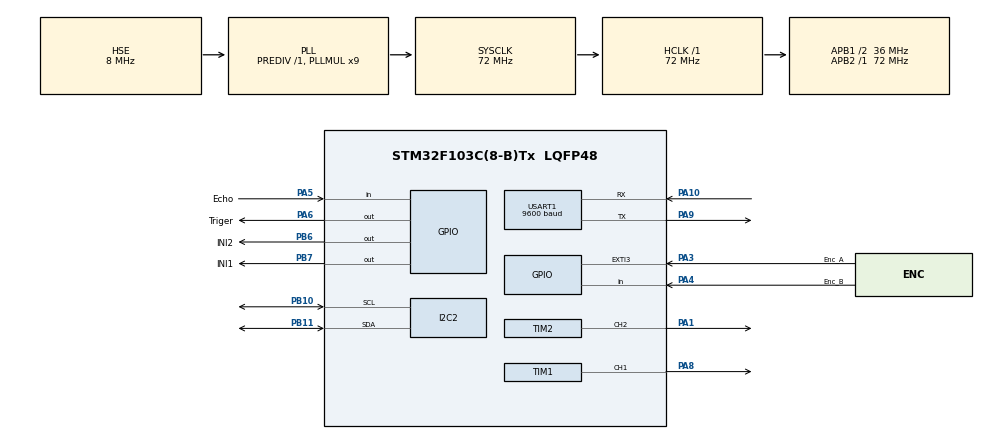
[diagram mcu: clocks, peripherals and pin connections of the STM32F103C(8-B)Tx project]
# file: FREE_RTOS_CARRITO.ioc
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FREERTOS.Tasks01=UART_Task,2,128,StartUartTask,Default,NULL,Dynamic,NULL,NULL;Servo_Task,0,128,StartServoTask,Default,NULL,Dynamic,NULL,NULL;Motor_Task,0,128,StartMotorTask,Default,NULL,Dynamic,NULL,NULL;Ultrasonic_Task,-3,64,StartUltrasonicoTask,Default,NULL,Dynamic,NULL,NULL;Encoder_Task,-2,256,StartEncoderTask,Default,NULL,Dynamic,NULL,NULL;MPU_Task,2,256,StartMPU9250Task,Default,NULL,Dynamic,NULL,NULL;Bluetooth_Task,0,256,StartBluetoothTask,Default,NULL,Dynamic,NULL,NULL
FREERTOS.configMINIMAL_STACK_SIZE=64
FREERTOS.configTOTAL_HEAP_SIZE=10000
Mcu.Family=STM32F1
Mcu.Name=STM32F103C(8-B)Tx
Mcu.Package=LQFP48
NVIC.EXTI3_IRQn=true\:5\:0\:false\:false\:true\:true\:true\:true
NVIC.PriorityGroup=NVIC_PRIORITYGROUP_4
NVIC.USART1_IRQn=true\:5\:0\:false\:false\:true\:true\:true\:true
PA1.Signal=S_TIM2_CH2
PA10.Mode=Asynchronous
PA10.Signal=USART1_RX
PA13.Mode=Serial_Wire
PA13.Signal=SYS_JTMS-SWDIO
PA14.Mode=Serial_Wire
PA14.Signal=SYS_JTCK-SWCLK
PA3.GPIO_Label=Enc_A
PA3.GPIO_PuPd=GPIO_PULLUP
PA3.Signal=GPXTI3
PA4.GPIO_Label=Enc_B
PA4.GPIO_PuPd=GPIO_PULLUP
PA4.Signal=GPIO_Input
PA5.GPIO_Label=Echo
PA5.Signal=GPIO_Input
PA6.GPIO_Label=Triger
PA6.Signal=GPIO_Output
PA8.Signal=S_TIM1_CH1
PA9.Mode=Asynchronous
PA9.Signal=USART1_TX
PB10.Mode=I2C
PB10.Signal=I2C2_SCL
PB11.Mode=I2C
PB11.Signal=I2C2_SDA
PB6.GPIO_Label=INI2
PB6.GPIO_PuPd=GPIO_PULLUP
PB6.Signal=GPIO_Output
PB7.GPIO_Label=INI1
PB7.GPIO_PuPd=GPIO_PULLUP
PB7.Signal=GPIO_Output
PD0-OSC_IN.Mode=HSE-External-Oscillator
PD0-OSC_IN.Signal=RCC_OSC_IN
PD1-OSC_OUT.Mode=HSE-External-Oscillator
PD1-OSC_OUT.Signal=RCC_OSC_OUT
ProjectManager.HeapSize=0x200
ProjectManager.StackSize=0x400
ProjectManager.TargetToolchain=STM32CubeIDE
RCC.AHBFreq_Value=72000000
RCC.APB1CLKDivider=RCC_HCLK_DIV2
RCC.APB1Freq_Value=36000000
RCC.APB1TimFreq_Value=72000000
RCC.APB2Freq_Value=72000000
RCC.APB2TimFreq_Value=72000000
RCC.HCLKFreq_Value=72000000
RCC.PLLMUL=RCC_PLL_MUL9
RCC.PLLSourceVirtual=RCC_PLLSOURCE_HSE
RCC.SYSCLKFreq_VALUE=72000000
RCC.SYSCLKSource=RCC_SYSCLKSOURCE_PLLCLK
RCC.USBFreq_Value=72000000
SH.S_TIM1_CH1.0=TIM1_CH1,PWM Generation1 CH1
SH.S_TIM2_CH2.0=TIM2_CH2,PWM Generation2 CH2
TIM1.Channel-PWM\ Generation1\ CH1=TIM_CHANNEL_1
TIM2.Channel-PWM\ Generation2\ CH2=TIM_CHANNEL_2
TIM2.Period=19999
TIM2.Prescaler=71
TIM3.Prescaler=72-1
USART1.BaudRate=9600
USART1.VirtualMode=VM_ASYNC
VP_FREERTOS_VS_CMSIS_V1.Mode=CMSIS_V1
VP_TIM1_VS_ClockSourceINT.Mode=Internal
VP_TIM2_VS_ClockSourceINT.Mode=Internal
VP_TIM3_VS_ClockSourceINT.Mode=Internal
board=custom

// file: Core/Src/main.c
/* USER CODE BEGIN Header */
/**
  ******************************************************************************
  * @file           : main.c
  * @brief          : Main program body
  ******************************************************************************
  * @attention
  *
  * <h2><center>&copy; Copyright (c) 2024 STMicroelectronics.
  * All rights reserved.</center></h2>
  *
  * Este software está licenciado por ST bajo la licencia Ultimate Liberty
  * SLA0044, la "Licencia"; No puedes usar este archivo excepto en cumplimiento
  * con la Licencia. Puedes obtener una copia de la Licencia en:
  *                             www.st.com/SLA0044
  *
  ******************************************************************************
  */
/* USER CODE END Header */
#include "main.h"
#include "cmsis_os.h"

/* USER CODE BEGIN Includes */
#include "stdio.h"
#include "stdlib.h"
#include "MPU9250-DMP.h"
#include "math.h"
#include "ultrasonico.h"
/* USER CODE END Includes */

/* USER CODE BEGIN PTD */
/* No se realizaron cambios aquí */
/* USER CODE END PTD */

/* USER CODE BEGIN PD */
#define ChannelA_Pin GPIO_PIN_3
#define ChannelA_GPIO_Port GPIOA
#define ChannelB_Pin GPIO_PIN_4
#define ChannelB_GPIO_Port GPIOA

// Definiciones de constantes
#define PWM_MIN               1000    // PWM para 0 grados
#define PWM_MAX               2000    // PWM para 180 grados
#define PWM_UPDATE_PERIOD_MS  10      // Periodo de actualización del PWM en ms
#define DISTANCE_THRESHOLD    30      // Umbral de distancia en cm
#define PULSES_PER_REV        56      // Ajusta este valor según tu encoder

#define VELOCIDAD_MAX         65535   // Velocidad máxima (PWM)
#define VELOCIDAD_MIN         20000   // Velocidad mínima para arrancar el motor (PWM)
#define SPEED_SCALE           1000    // Escala de velocidad (0 a 1000)
#define PWM_STEP              100     // Paso de ajuste del PWM para cambios graduales

#define ANGLE_CENTER          80      // �?ngulo central donde el carrito está recto
#define MAX_DELTA_ANGLE       80      // Máximo desplazamiento angular desde el centro (±80 grados)
#define PWM_STEP_SERVO        50       // Paso de ajuste de PWM para el servo

// Buffer circular para UART
#define UART_BUFFER_SIZE      64

// Constantes para el PID de dirección
#define INTEGRAL_MAX_DIR      1.0f
#define INTEGRAL_MIN_DIR     -1.0f

#define SIDE_DISTANCE_CM       1200      // Distancia de cada lado del cuadrado en cm (ajusta según necesidad)
#define TURN_ANGLE_DEGREES     90		// �?ngulo de giro para cada esquina

#define WHEEL_CIRCUMFERENCE_CM 6.0f
#define PULSES_PER_CM 		   2.8f
#define DISTANCE_PER_PULSE     2.8f    // cm por pulso del encoder (ajusta según tu hardware)
#define SIDE_ENCODER_COUNT     (int32_t)(SIDE_DISTANCE_CM / DISTANCE_PER_PULSE)

/* USER CODE END PD */

/* USER CODE BEGIN PM */
/* No se realizaron cambios aquí */
/* USER CODE END PM */

I2C_HandleTypeDef hi2c2;

TIM_HandleTypeDef htim1;
TIM_HandleTypeDef htim2;
TIM_HandleTypeDef htim3;

UART_HandleTypeDef huart1;

osThreadId UART_TaskHandle;
osThreadId Servo_TaskHandle;
osThreadId Motor_TaskHandle;
osThreadId Ultrasonic_TaskHandle;
osThreadId Encoder_TaskHandle;
osThreadId MPU_TaskHandle;
osThreadId Bluetooth_TaskHandle;
/* USER CODE BEGIN PV */
// Variables globales
const char mensaje_constante[] = "RPM: ";

volatile int pwm_val = PWM_MIN + (140 * (PWM_MAX - PWM_MIN) / 180);
volatile int Grados = 0;

int32_t var_X = 0;

uint8_t rxData;

volatile int velocidad = 0;       // Valor PWM actual
volatile int speed_scale = 0;

uint8_t uart_rx_buffer[UART_BUFFER_SIZE];
volatile uint8_t uart_rx_head = 0;
volatile uint8_t uart_rx_tail = 0;

volatile int32_t posicion = 0;

int32_t current_position = 0;
int32_t rpm_scaled = 0;

// Constantes del PID
float kp = 15.3546;
float ki = 15.2377;
float kd = -0.03721;
float cv = 20000.0;
float cv_n1 = 20000.0;
uint32_t miDeltaT = 10;
float error, error_n1;
uint16_t valor_deseado; // Valor del proceso (RPM)
float sumatoria_error = 0;
float rate_error = 0;
char uart_buf[50];
int uart_buf_len;

// Variables para el PID de dirección
volatile float desired_heading = 0; // Inicializado al ángulo central

float kp_dir = 2.0f;       // Ganancia proporcional
float ki_dir = 0.5f;       // Ganancia integral
float kd_dir = 1.0f;       // Ganancia derivativa

float error_dir = 0.0f;
float prev_error_dir = 0.0f;
float integral_dir = 0.0f;
float derivative_dir = 0.0f;
float output_dir = 0.0f;

// COMPASS VARIABLES
float heading_degree = 0.0f;

int i2cVar = 0;

uint32_t previousTick = 0;

volatile uint8_t uart_data_ready = 0;

float error_correction = 0.0f;

float angulo_deseado = 0;

float pos_x = 0.0f;
float pos_y = 0.0f;
volatile float target_x = 0.0f;
volatile float target_y = 0.0f;
volatile int  velocidad_actual = 0;

volatile int  velocidad_manual = 0;
volatile int  grados_manual = 0;

char square_msg[100];

typedef enum {
    MODE_AUTONOMOUS,
    MODE_MANUAL
} OperationMode;

volatile OperationMode current_mode = MODE_AUTONOMOUS;

// Variables para comandos
volatile uint8_t command_received = 0;
char command_buffer[UART_BUFFER_SIZE];
volatile uint8_t command_index = 0;

/* USER CODE END PV */

void SystemClock_Config(void);
static void MX_GPIO_Init(void);
static void MX_I2C2_Init(void);
static void MX_TIM1_Init(void);
static void MX_TIM2_Init(void);
static void MX_TIM3_Init(void);
static void MX_USART1_UART_Init(void);
void StartUartTask(void const * argument);
void StartServoTask(void const * argument);
void StartMotorTask(void const * argument);
void StartUltrasonicoTask(void const * argument);
void StartEncoderTask(void const * argument);
void StartMPU9250Task(void const * argument);
void StartBluetoothTask(void const * argument);

/* USER CODE BEGIN PFP */
// Funciones de usuario
void update_servo_position(void);
void set_motor_direction(int direction);
void adjust_speed(int step);
void process_uart_command(uint8_t command);
void HAL_UART_RxCpltCallback(UART_HandleTypeDef *huart);
void I2C_Scan(I2C_HandleTypeDef *hi2c);
void intToStr(int32_t num, char *str);
int32_t float_to_scaled_int(float number, uint8_t decimals);
void float_to_int_frac(float number, int32_t *int_part, int32_t *frac_part, uint8_t decimals);
void process_received_command(void);
void send_data_over_bluetooth(void);

/* USER CODE END PFP */

/* USER CODE BEGIN 0 */

// Callback de recepción UART
void HAL_UART_RxCpltCallback(UART_HandleTypeDef *huart)
{
    if (huart->Instance == USART1)
    {
        static uint8_t receiving_command = 0;
        static uint8_t command_started = 0;

        if (rxData == 0x02) // STX
        {
            command_index = 0;
            command_started = 1;
        }
        else if (rxData == 0x03 && command_started) // ETX
        {
            command_buffer[command_index] = '\0'; // Terminar la cadena
            command_received = 1;
            command_started = 0;

            // Opcional: Echo del comando recibido para depuración
            HAL_UART_Transmit(&huart1, (uint8_t*)"Comando Recibido: ", 19, HAL_MAX_DELAY);
            HAL_UART_Transmit(&huart1, (uint8_t*)command_buffer, command_index, HAL_MAX_DELAY);
            HAL_UART_Transmit(&huart1, (uint8_t*)"\r\n", 2, HAL_MAX_DELAY);
        }
        else if (command_started)
        {
            if (command_index < UART_BUFFER_SIZE - 1)
            {
                command_buffer[command_index++] = rxData;
            }
            else
            {
                // Buffer overflow, resetear
                command_started = 0;
                command_index = 0;
                HAL_UART_Transmit(&huart1, (uint8_t*)"Error: Buffer Overflow\r\n", 23, HAL_MAX_DELAY);
            }
        }

        // Reiniciar la recepción
        HAL_UART_Receive_IT(&huart1, &rxData, 1);
    }
}

float calculate_angle_error(float desired, float current) {
    float error = desired - current;
    while (error > 180.0f) error -= 360.0f;
    while (error < -180.0f) error += 360.0f;
    return error;
}

void move_forward(int32_t encoder_target) {
    // Reiniciar el conteo del encoder
    posicion = 0;

    // Configurar la dirección del motor hacia adelante
    set_motor_direction(2); // Asumiendo que '2' es adelante

    // Establecer una velocidad de avance
    set_speed(800); // Ajusta la velocidad según sea necesario

    // Esperar hasta que se alcance el conteo del encoder
    while (posicion < encoder_target) {
        osDelay(10); // Verificar cada 10 ms
    }

    // Detener el motor
    set_motor_direction(0);
    set_speed(0);

    // Opcional: Enviar mensaje de depuración
    sprintf(square_msg, "Avanzó %ld pulsos\r\n", encoder_target);
    HAL_UART_Transmit(&huart1, (uint8_t*)square_msg, strlen(square_msg), HAL_MAX_DELAY);
}

// Función para girar un ángulo específico utilizando el PID de dirección
// Función para girar un ángulo específico utilizando el PID de dirección
void turn_degrees(float angle)
{
    // Guardar el heading inicial
    float initial_heading = heading_degree;

    // Calcular el heading deseado
    float desired_heading_turn = angulo_deseado + angle;
    angulo_deseado = desired_heading_turn;

    // Normalizar el heading deseado entre 0 y 360 grados
    while (desired_heading_turn >= 360.0f) desired_heading_turn -= 360.0f;
    while (desired_heading_turn < 0.0f) desired_heading_turn += 360.0f;

    // Establecer el heading deseado
    desired_heading = desired_heading_turn;

    // Detener el motor después del giro
    set_motor_direction(0);
    set_speed(0);

    // Opcional: Enviar mensaje de depuración
}

// Función para escanear el bus I2C y detectar dispositivos
void I2C_Scan(I2C_HandleTypeDef *hi2c)
{
    char msg[50];
    HAL_UART_Transmit(&huart1, (uint8_t*)"Scanning I2C bus...\r\n", 20, HAL_MAX_DELAY);
    for(uint16_t i=0; i<128; i++)
    {
        HAL_StatusTypeDef result = HAL_I2C_IsDeviceReady(hi2c, (uint16_t)(i<<1), 1, 10);
        if(result == HAL_OK)
        {
            i2cVar = i;
            sprintf(msg, "Device found at 0x%X\r\n", i);
            HAL_UART_Transmit(&huart1, (uint8_t*)msg, strlen(msg), HAL_MAX_DELAY);
        }
    }
    HAL_UART_Transmit(&huart1, (uint8_t*)"I2C scan completed\r\n", 21, HAL_MAX_DELAY);
}

// Configurar dirección del motor
void set_motor_direction(int direction)
{
    switch (direction)
    {
    case 1:  // Motor A encendido
        HAL_GPIO_WritePin(GPIOB, GPIO_PIN_6, GPIO_PIN_SET);
        HAL_GPIO_WritePin(GPIOB, GPIO_PIN_7, GPIO_PIN_RESET);
        break;
    case 2:  // Motor C encendido
        HAL_GPIO_WritePin(GPIOB, GPIO_PIN_6, GPIO_PIN_RESET);
        HAL_GPIO_WritePin(GPIOB, GPIO_PIN_7, GPIO_PIN_SET);
        break;
    case 0:  // Apagar ambos motores
        HAL_GPIO_WritePin(GPIOB, GPIO_PIN_6, GPIO_PIN_RESET);
        HAL_GPIO_WritePin(GPIOB, GPIO_PIN_7, GPIO_PIN_RESET);
        break;
    default:
        break;
    }
}

// Ajustar la velocidad del motor
void adjust_speed(int step)
{
    // 1. Actualizar la escala de velocidad
    speed_scale += step;

    // 2. Limitar la escala de velocidad dentro de 0 a 1000
    if (speed_scale > SPEED_SCALE)
        speed_scale = SPEED_SCALE;
    else if (speed_scale < 0)
        speed_scale = 0;

    // 3. Mapear la escala de velocidad a VELOCIDAD_MIN a VELOCIDAD_MAX
    if (speed_scale == 0)
    {
        // Motor apagado
        velocidad = 0;
    }
    else
    {
        // Calcula el PWM correspondiente a la escala de velocidad
        // Usamos 'long' para evitar desbordamientos en la multiplicación
        velocidad = VELOCIDAD_MIN + ((long)speed_scale * (VELOCIDAD_MAX - VELOCIDAD_MIN)) / SPEED_SCALE;

        // Asegurarse de que 'velocidad' no exceda los límites
        if (velocidad > VELOCIDAD_MAX)
            velocidad = VELOCIDAD_MAX;
        else if (velocidad < VELOCIDAD_MIN)
            velocidad = VELOCIDAD_MIN;
    }

    // 4. Ajustar 'velocidad' hacia 'velocidad_target' en pasos definidos por PWM_STEP
    // Esto proporciona un cambio suave en la velocidad
    static int velocidad_target = 0;

    // Actualizar el objetivo de velocidad
    velocidad_target = velocidad;

    // Ajuste gradual hacia 'velocidad_target'
    if (velocidad < velocidad_target)
    {
        velocidad += PWM_STEP;
        if (velocidad > velocidad_target)
            velocidad = velocidad_target;
    }
    else if (velocidad > velocidad_target)
    {
        velocidad -= PWM_STEP;
        if (velocidad < velocidad_target)
            velocidad = velocidad_target;
    }

    // 5. Actualizar el PWM del motor
    __HAL_TIM_SET_COMPARE(&htim1, TIM_CHANNEL_1, velocidad);
}

// Establecer velocidad directamente
// Actualizar la velocidad en la función set_speed
void set_speed(int desired_speed)
{
    if (desired_speed > SPEED_SCALE)
        desired_speed = SPEED_SCALE;
    else if (desired_speed < 0)
        desired_speed = 0;

    speed_scale = desired_speed;

    if (speed_scale == 0)
    {
        velocidad = 0;
    }
    else
    {
        velocidad = VELOCIDAD_MIN + ((long)speed_scale * (VELOCIDAD_MAX - VELOCIDAD_MIN)) / SPEED_SCALE;

        if (velocidad > VELOCIDAD_MAX)
            velocidad = VELOCIDAD_MAX;
        else if (velocidad < VELOCIDAD_MIN)
            velocidad = VELOCIDAD_MIN;
    }

    // Actualizar la velocidad actual
    velocidad_actual = velocidad;

    // Actualizar el PWM del motor
    __HAL_TIM_SET_COMPARE(&htim1, TIM_CHANNEL_1, velocidad);
}

// Procesar comandos UART
void process_uart_command(uint8_t command)
{
    switch (command)
    {
    case 'A':
        var_X = 0;
        set_motor_direction(2);
        set_speed(800);
        break;
    case 'B':
        adjust_speed(100);
        break;
    case 'C':
        var_X = 0;
        set_motor_direction(2);
        set_speed(650);
        break;
    case 'D':
        adjust_speed(-100);
        break;
    case 'E':
        set_motor_direction(0);
        break;
    case 'F':
        Grados = 60;
        break;
    case 'G':
        Grados = 40;
        break;
    default:
        break;
    }
}

// Actualizar posición del servo
void update_servo_position(void)
{
    // 1. Limitar el desplazamiento angular al rango permitido (-80° a +80°)
    if (Grados > MAX_DELTA_ANGLE)
        Grados = MAX_DELTA_ANGLE;
    else if (Grados < -MAX_DELTA_ANGLE)
        Grados = -MAX_DELTA_ANGLE;

    // 2. Calcular el ángulo real del servo sumando el desplazamiento al ángulo central
    int servo_angle = ANGLE_CENTER + Grados;

    // 3. Calcular el valor PWM objetivo usando la fórmula ajustada
    // La fórmula mapea el ángulo (0° a 180°) al rango PWM_MIN a PWM_MAX
    int pwm_target = PWM_MIN + ((servo_angle) * (PWM_MAX - PWM_MIN)) / 180;

    // 4. Asegurarse de que pwm_target esté dentro de los límites PWM_MIN y PWM_MAX
    if (pwm_target > PWM_MAX)
        pwm_target = PWM_MAX;
    else if (pwm_target < PWM_MIN)
        pwm_target = PWM_MIN;

    // 5. Ajustar pwm_val hacia pwm_target en pasos definidos por PWM_STEP_SERVO para un movimiento suave
    if (pwm_val < pwm_target)
    {
        pwm_val += PWM_STEP_SERVO;
        if (pwm_val > pwm_target)
            pwm_val = pwm_target;
    }
    else if (pwm_val > pwm_target)
    {
        pwm_val -= PWM_STEP_SERVO;
        if (pwm_val < pwm_target)
            pwm_val = pwm_target;
    }

    // 6. Actualizar PWM del servo
    __HAL_TIM_SET_COMPARE(&htim2, TIM_CHANNEL_2, pwm_val);
}

// Función simple para convertir entero a cadena
void intToStr(int32_t num, char *str) {
    int i = 0;
    int isNegative = 0;

    // Manejar 0 explícitamente
    if (num == 0) {
        str[i++] = '0';
        str[i] = '\0';
        return;
    }

    // Manejar números negativos
    if (num < 0) {
        isNegative = 1;
        num = -num;
    }

    // Procesar dígitos
    while (num != 0 && i < 9) { // Limitar a 9 dígitos para evitar overflow
        int rem = num % 10;
        str[i++] = rem + '0';
        num = num / 10;
    }

    // Añadir signo negativo si es necesario
    if (isNegative) {
        str[i++] = '-';
    }

    str[i] = '\0';

    // Invertir la cadena
    int start = 0;
    int end = i - 1;
    while (start < end) {
        char temp = str[start];
        str[start] = str[end];
        str[end] = temp;
        start++;
        end--;
    }
}

// Función auxiliar para convertir float a enteros escalados
int32_t float_to_scaled_int(float number, uint8_t decimals) {
    float scaling_factor = 1.0f;
    for(uint8_t i = 0; i < decimals; i++) {
        scaling_factor *= 10.0f;
    }
    return (int32_t)(number * scaling_factor);
}

// Función auxiliar para dividir float en parte entera y fraccionaria
void float_to_int_frac(float number, int32_t *int_part, int32_t *frac_part, uint8_t decimals) {
    int32_t scaled = float_to_scaled_int(number, decimals);
    int32_t divisor = 1;
    for(uint8_t i = 0; i < decimals; i++) {
        divisor *= 10;
    }
    *int_part = scaled / divisor;
    *frac_part = scaled % divisor;
    if (*frac_part < 0) {
        *frac_part = -*frac_part;
    }
}

// Callback de interrupción GPIO
void HAL_GPIO_EXTI_Callback(uint16_t GPIO_Pin)
{
    if (GPIO_Pin == ChannelA_Pin)
    {
        if (HAL_GPIO_ReadPin(ChannelB_GPIO_Port, ChannelB_Pin))
            posicion--;
        else
            posicion++;
    }

    // Calcular la distancia recorrida por este pulso
   float distance_per_pulse = 1.0f / PULSES_PER_CM; // cm por pulso

   // Obtener el ángulo actual en radianes
   float angle_rad = heading_degree * (3.14159265359f / 180.0f);

   // Actualizar las posiciones X e Y
   pos_x += distance_per_pulse * cosf(angle_rad);
   pos_y += distance_per_pulse * sinf(angle_rad);

}
/* USER CODE END 0 */

int main(void)
{
  /* USER CODE BEGIN 1 */
  // No se realizaron cambios aquí
  /* USER CODE END 1 */

  /* MCU Configuration--------------------------------------------------------*/

  /* Reset of all peripherals, Initializes the Flash interface and the Systick. */
  HAL_Init();

  /* USER CODE BEGIN Init */
  HAL_NVIC_SetPriorityGrouping(NVIC_PRIORITYGROUP_4);
  /* USER CODE END Init */

  /* Configure the system clock */
  SystemClock_Config();

  /* USER CODE BEGIN SysInit */
  /* No se realizaron cambios aquí */
  /* USER CODE END SysInit */

  /* Initialize all configured peripherals */
  MX_GPIO_Init();
  MX_I2C2_Init();
  MX_TIM1_Init();
  MX_TIM2_Init();
  MX_TIM3_Init();
  MX_USART1_UART_Init();
  /* USER CODE BEGIN 2 */

  // Inicializar PWM para el servo
  pwm_val = PWM_MIN + (90 * (PWM_MAX - PWM_MIN) / 180);

  // Inicializar sensores y módulos
  I2C_Scan(&hi2c2);
  MPU9250_DMP();

  // Inicializar MPU9250 con reintentos
  int result = INV_ERROR; // Inicializamos con un valor de error
  int attempts = 0;
  const int max_attempts = 5; // Máximo de 5 intentos

  while (result != INV_SUCCESS && attempts < max_attempts) {
      result = MPU9250_begin();

      if (result != INV_SUCCESS) {
          char error_msg[64];
          snprintf(error_msg, sizeof(error_msg), "MPU9250 attempt %d failed\r\n", attempts + 1);
          HAL_UART_Transmit(&huart1, (uint8_t*)error_msg, strlen(error_msg), HAL_MAX_DELAY);
          HAL_Delay(200); // Retraso antes de reintentar
          attempts++;
      }
  }

  if (result != INV_SUCCESS) {
      HAL_UART_Transmit(&huart1, (uint8_t*)"MPU9250 failed after max attempts\r\n", 35, HAL_MAX_DELAY);
      Error_Handler(); // Manejar el error (reiniciar o notificar)
  } else {
      HAL_UART_Transmit(&huart1, (uint8_t*)"MPU9250 initialized successfully\r\n", 35, HAL_MAX_DELAY);
  }

  result = MPU9250_setSensors(INV_XYZ_COMPASS | INV_XYZ_GYRO | INV_XYZ_ACCEL);
  if (result != INV_SUCCESS) {
      // Manejar error
      HAL_UART_Transmit(&huart1, (uint8_t*)"MPU9250_setSensors failed\r\n", 27, HAL_MAX_DELAY);
      Error_Handler();
  }

  result = MPU9250_dmpBegin(DMP_FEATURE_6X_LP_QUAT | DMP_FEATURE_GYRO_CAL | DMP_FEATURE_SEND_RAW_ACCEL, 10);
  if (result != INV_SUCCESS) {
      // Manejar error
      HAL_UART_Transmit(&huart1, (uint8_t*)"MPU9250_dmpBegin failed\r\n", 25, HAL_MAX_DELAY);
      Error_Handler();
  }

  if (HAL_UART_Receive_IT(&huart1, &rxData, 1) != HAL_OK)
  {
      HAL_UART_Transmit(&huart1, (uint8_t*)"HAL UART IT failed\r\n", 25, HAL_MAX_DELAY);
      Error_Handler();
  }

  // Inicializar sensor ultrasónico
  ultrasonic_init();

  // Habilitar interrupciones UART
  HAL_UART_Receive_IT(&huart1, &rxData, 1);

  // Iniciar PWM
  HAL_TIM_PWM_Start(&htim1, TIM_CHANNEL_1);  // Motor
  HAL_TIM_PWM_Start(&htim2, TIM_CHANNEL_2);  // Servo

  // Establecer el valor inicial del PWM del servo
  __HAL_TIM_SET_COMPARE(&htim2, TIM_CHANNEL_2, pwm_val);

  HAL_Delay(25000); // Esperar 20 segundos antes de iniciar las tareas

  /* USER CODE END 2 */

  /* USER CODE BEGIN RTOS_MUTEX */
  /* No se añadieron mutexes */
  /* USER CODE END RTOS_MUTEX */

  /* USER CODE BEGIN RTOS_SEMAPHORES */
  /* No se añadieron semáforos */
  /* USER CODE END RTOS_SEMAPHORES */

  /* USER CODE BEGIN RTOS_TIMERS */
  /* No se añadieron timers */
  /* USER CODE END RTOS_TIMERS */

  /* USER CODE BEGIN RTOS_QUEUES */
  /* No se añadieron colas */
  /* USER CODE END RTOS_QUEUES */

  /* Create the thread(s) */
  /* definition and creation of UART_Task */
  osThreadDef(UART_Task, StartUartTask, osPriorityNormal, 0, 128);
  UART_TaskHandle = osThreadCreate(osThread(UART_Task), NULL);

  /* definition and creation of Servo_Task */
  osThreadDef(Servo_Task, StartServoTask, osPriorityHigh, 0, 128);
  Servo_TaskHandle = osThreadCreate(osThread(Servo_Task), NULL);

  /* definition and creation of Motor_Task */
  osThreadDef(Motor_Task, StartMotorTask, osPriorityNormal, 0, 128);
  Motor_TaskHandle = osThreadCreate(osThread(Motor_Task), NULL);

  /* definition and creation of Ultrasonic_Task */
  osThreadDef(Ultrasonic_Task, StartUltrasonicoTask, osPriorityIdle, 0, 64);
  Ultrasonic_TaskHandle = osThreadCreate(osThread(Ultrasonic_Task), NULL);

  /* definition and creation of Encoder_Task */
  osThreadDef(Encoder_Task, StartEncoderTask, osPriorityLow, 0, 256);
  Encoder_TaskHandle = osThreadCreate(osThread(Encoder_Task), NULL);

  /* definition and creation of MPU_Task */
  osThreadDef(MPU_Task, StartMPU9250Task, osPriorityHigh, 0, 256);
  MPU_TaskHandle = osThreadCreate(osThread(MPU_Task), NULL);

  /* definition and creation of Bluetooth_Task */
  osThreadDef(Bluetooth_Task, StartBluetoothTask, osPriorityNormal, 0, 256);
  Bluetooth_TaskHandle = osThreadCreate(osThread(Bluetooth_Task), NULL);

  /* USER CODE BEGIN RTOS_THREADS */
  /* No se añadieron más threads */
  /* USER CODE END RTOS_THREADS */

  /* Start scheduler */
  osKernelStart();

  /* We should never get here as control is now taken by the scheduler */
  /* Infinite loop */
  while (1)
  {

  }
}

void SystemClock_Config(void)
{
  RCC_OscInitTypeDef RCC_OscInitStruct = {0};
  RCC_ClkInitTypeDef RCC_ClkInitStruct = {0};

  /** Initializes the RCC Oscillators according to the specified parameters
  * in the RCC_OscInitTypeDef structure.
  */
  RCC_OscInitStruct.OscillatorType = RCC_OSCILLATORTYPE_HSE;
  RCC_OscInitStruct.HSEState = RCC_HSE_ON;
  RCC_OscInitStruct.HSEPredivValue = RCC_HSE_PREDIV_DIV1;
  RCC_OscInitStruct.HSIState = RCC_HSI_ON;
  RCC_OscInitStruct.PLL.PLLState = RCC_PLL_ON;
  RCC_OscInitStruct.PLL.PLLSource = RCC_PLLSOURCE_HSE;
  RCC_OscInitStruct.PLL.PLLMUL = RCC_PLL_MUL9;
  if (HAL_RCC_OscConfig(&RCC_OscInitStruct) != HAL_OK)
  {
    Error_Handler();
  }
  /** Initializes the CPU, AHB and APB buses clocks
  */
  RCC_ClkInitStruct.ClockType = RCC_CLOCKTYPE_HCLK|RCC_CLOCKTYPE_SYSCLK
                              |RCC_CLOCKTYPE_PCLK1|RCC_CLOCKTYPE_PCLK2;
  RCC_ClkInitStruct.SYSCLKSource = RCC_SYSCLKSOURCE_PLLCLK;
  RCC_ClkInitStruct.AHBCLKDivider = RCC_SYSCLK_DIV1;
  RCC_ClkInitStruct.APB1CLKDivider = RCC_HCLK_DIV2;
  RCC_ClkInitStruct.APB2CLKDivider = RCC_HCLK_DIV1;

  if (HAL_RCC_ClockConfig(&RCC_ClkInitStruct, FLASH_LATENCY_2) != HAL_OK)
  {
    Error_Handler();
  }
}

static void MX_I2C2_Init(void)
{

  hi2c2.Instance = I2C2;
  hi2c2.Init.ClockSpeed = 100000;
  hi2c2.Init.DutyCycle = I2C_DUTYCYCLE_2;
  hi2c2.Init.OwnAddress1 = 0;
  hi2c2.Init.AddressingMode = I2C_ADDRESSINGMODE_7BIT;
  hi2c2.Init.DualAddressMode = I2C_DUALADDRESS_DISABLE;
  hi2c2.Init.OwnAddress2 = 0;
  hi2c2.Init.GeneralCallMode = I2C_GENERALCALL_DISABLE;
  hi2c2.Init.NoStretchMode = I2C_NOSTRETCH_DISABLE;
  if (HAL_I2C_Init(&hi2c2) != HAL_OK)
  {
    Error_Handler();
  }

}

static void MX_TIM1_Init(void)
{

  TIM_ClockConfigTypeDef sClockSourceConfig = {0};
  TIM_MasterConfigTypeDef sMasterConfig = {0};
  TIM_OC_InitTypeDef sConfigOC = {0};
  TIM_BreakDeadTimeConfigTypeDef sBreakDeadTimeConfig = {0};

  htim1.Instance = TIM1;
  htim1.Init.Prescaler = 0;
  htim1.Init.CounterMode = TIM_COUNTERMODE_UP;
  htim1.Init.Period = 65535;
  htim1.Init.ClockDivision = TIM_CLOCKDIVISION_DIV1;
  htim1.Init.RepetitionCounter = 0;
  htim1.Init.AutoReloadPreload = TIM_AUTORELOAD_PRELOAD_DISABLE;
  if (HAL_TIM_Base_Init(&htim1) != HAL_OK)
  {
    Error_Handler();
  }
  sClockSourceConfig.ClockSource = TIM_CLOCKSOURCE_INTERNAL;
  if (HAL_TIM_ConfigClockSource(&htim1, &sClockSourceConfig) != HAL_OK)
  {
    Error_Handler();
  }
  if (HAL_TIM_PWM_Init(&htim1) != HAL_OK)
  {
    Error_Handler();
  }
  sMasterConfig.MasterOutputTrigger = TIM_TRGO_RESET;
  sMasterConfig.MasterSlaveMode = TIM_MASTERSLAVEMODE_DISABLE;
  if (HAL_TIMEx_MasterConfigSynchronization(&htim1, &sMasterConfig) != HAL_OK)
  {
    Error_Handler();
  }
  sConfigOC.OCMode = TIM_OCMODE_PWM1;
  sConfigOC.Pulse = 0;
  sConfigOC.OCPolarity = TIM_OCPOLARITY_HIGH;
  sConfigOC.OCNPolarity = TIM_OCNPOLARITY_HIGH;
  sConfigOC.OCFastMode = TIM_OCFAST_DISABLE;
  sConfigOC.OCIdleState = TIM_OCIDLESTATE_RESET;
  sConfigOC.OCNIdleState = TIM_OCNIDLESTATE_RESET;
  if (HAL_TIM_PWM_ConfigChannel(&htim1, &sConfigOC, TIM_CHANNEL_1) != HAL_OK)
  {
    Error_Handler();
  }
  sBreakDeadTimeConfig.OffStateRunMode = TIM_OSSR_DISABLE;
  sBreakDeadTimeConfig.OffStateIDLEMode = TIM_OSSI_DISABLE;
  sBreakDeadTimeConfig.LockLevel = TIM_LOCKLEVEL_OFF;
  sBreakDeadTimeConfig.DeadTime = 0;
  sBreakDeadTimeConfig.BreakState = TIM_BREAK_DISABLE;
  sBreakDeadTimeConfig.BreakPolarity = TIM_BREAKPOLARITY_HIGH;
  sBreakDeadTimeConfig.AutomaticOutput = TIM_AUTOMATICOUTPUT_DISABLE;
  if (HAL_TIMEx_ConfigBreakDeadTime(&htim1, &sBreakDeadTimeConfig) != HAL_OK)
  {
    Error_Handler();
  }
  HAL_TIM_MspPostInit(&htim1);

}

static void MX_TIM2_Init(void)
{

  TIM_ClockConfigTypeDef sClockSourceConfig = {0};
  TIM_MasterConfigTypeDef sMasterConfig = {0};
  TIM_OC_InitTypeDef sConfigOC = {0};

  htim2.Instance = TIM2;
  htim2.Init.Prescaler = 71;
  htim2.Init.CounterMode = TIM_COUNTERMODE_UP;
  htim2.Init.Period = 19999;
  htim2.Init.ClockDivision = TIM_CLOCKDIVISION_DIV1;
  htim2.Init.AutoReloadPreload = TIM_AUTORELOAD_PRELOAD_DISABLE;
  if (HAL_TIM_Base_Init(&htim2) != HAL_OK)
  {
    Error_Handler();
  }
  sClockSourceConfig.ClockSource = TIM_CLOCKSOURCE_INTERNAL;
  if (HAL_TIM_ConfigClockSource(&htim2, &sClockSourceConfig) != HAL_OK)
  {
    Error_Handler();
  }
  if (HAL_TIM_PWM_Init(&htim2) != HAL_OK)
  {
    Error_Handler();
  }
  sMasterConfig.MasterOutputTrigger = TIM_TRGO_RESET;
  sMasterConfig.MasterSlaveMode = TIM_MASTERSLAVEMODE_DISABLE;
  if (HAL_TIMEx_MasterConfigSynchronization(&htim2, &sMasterConfig) != HAL_OK)
  {
    Error_Handler();
  }
  sConfigOC.OCMode = TIM_OCMODE_PWM1;
  sConfigOC.Pulse = 0;
  sConfigOC.OCPolarity = TIM_OCPOLARITY_HIGH;
  sConfigOC.OCFastMode = TIM_OCFAST_DISABLE;
  if (HAL_TIM_PWM_ConfigChannel(&htim2, &sConfigOC, TIM_CHANNEL_2) != HAL_OK)
  {
    Error_Handler();
  }
  HAL_TIM_MspPostInit(&htim2);

}

static void MX_TIM3_Init(void)
{

  TIM_ClockConfigTypeDef sClockSourceConfig = {0};
  TIM_MasterConfigTypeDef sMasterConfig = {0};

  htim3.Instance = TIM3;
  htim3.Init.Prescaler = 72-1;
  htim3.Init.CounterMode = TIM_COUNTERMODE_UP;
  htim3.Init.Period = 65535;
  htim3.Init.ClockDivision = TIM_CLOCKDIVISION_DIV1;
  htim3.Init.AutoReloadPreload = TIM_AUTORELOAD_PRELOAD_DISABLE;
  if (HAL_TIM_Base_Init(&htim3) != HAL_OK)
  {
    Error_Handler();
  }
  sClockSourceConfig.ClockSource = TIM_CLOCKSOURCE_INTERNAL;
  if (HAL_TIM_ConfigClockSource(&htim3, &sClockSourceConfig) != HAL_OK)
  {
    Error_Handler();
  }
  sMasterConfig.MasterOutputTrigger = TIM_TRGO_RESET;
  sMasterConfig.MasterSlaveMode = TIM_MASTERSLAVEMODE_DISABLE;
  if (HAL_TIMEx_MasterConfigSynchronization(&htim3, &sMasterConfig) != HAL_OK)
  {
    Error_Handler();
  }

}

static void MX_USART1_UART_Init(void)
{

  huart1.Instance = USART1;
  huart1.Init.BaudRate = 9600;
  huart1.Init.WordLength = UART_WORDLENGTH_8B;
  huart1.Init.StopBits = UART_STOPBITS_1;
  huart1.Init.Parity = UART_PARITY_NONE;
  huart1.Init.Mode = UART_MODE_TX_RX;
  huart1.Init.HwFlowCtl = UART_HWCONTROL_NONE;
  huart1.Init.OverSampling = UART_OVERSAMPLING_16;
  if (HAL_UART_Init(&huart1) != HAL_OK)
  {
    Error_Handler();
  }
  /* USER CODE BEGIN USART1_Init 2 */
  HAL_NVIC_SetPriority(USART1_IRQn, 5, 0); // Prioridad 5 (ajústala si es necesario)
  HAL_NVIC_EnableIRQ(USART1_IRQn);
  /* USER CODE END USART1_Init 2 */

}

static void MX_GPIO_Init(void)
{
  GPIO_InitTypeDef GPIO_InitStruct = {0};

  /* GPIO Ports Clock Enable */
  __HAL_RCC_GPIOD_CLK_ENABLE();
  __HAL_RCC_GPIOA_CLK_ENABLE();
  __HAL_RCC_GPIOB_CLK_ENABLE();

  /*Configure GPIO pin Output Level */
  HAL_GPIO_WritePin(Triger_GPIO_Port, Triger_Pin, GPIO_PIN_RESET);

  /*Configure GPIO pin Output Level */
  HAL_GPIO_WritePin(GPIOB, INI2_Pin|INI1_Pin, GPIO_PIN_RESET);

  /*Configure GPIO pin : Enc_A_Pin */
  GPIO_InitStruct.Pin = Enc_A_Pin;
  GPIO_InitStruct.Mode = GPIO_MODE_IT_RISING;
  GPIO_InitStruct.Pull = GPIO_PULLUP;
  HAL_GPIO_Init(Enc_A_GPIO_Port, &GPIO_InitStruct);

  /*Configure GPIO pin : Enc_B_Pin */
  GPIO_InitStruct.Pin = Enc_B_Pin;
  GPIO_InitStruct.Mode = GPIO_MODE_INPUT;
  GPIO_InitStruct.Pull = GPIO_PULLUP;
  HAL_GPIO_Init(Enc_B_GPIO_Port, &GPIO_InitStruct);

  /*Configure GPIO pin : Echo_Pin */
  GPIO_InitStruct.Pin = Echo_Pin;
  GPIO_InitStruct.Mode = GPIO_MODE_INPUT;
  GPIO_InitStruct.Pull = GPIO_NOPULL;
  HAL_GPIO_Init(Echo_GPIO_Port, &GPIO_InitStruct);

  /*Configure GPIO pin : Triger_Pin */
  GPIO_InitStruct.Pin = Triger_Pin;
  GPIO_InitStruct.Mode = GPIO_MODE_OUTPUT_PP;
  GPIO_InitStruct.Pull = GPIO_NOPULL;
  GPIO_InitStruct.Speed = GPIO_SPEED_FREQ_LOW;
  HAL_GPIO_Init(Triger_GPIO_Port, &GPIO_InitStruct);

  /*Configure GPIO pins : INI2_Pin INI1_Pin */
  GPIO_InitStruct.Pin = INI2_Pin|INI1_Pin;
  GPIO_InitStruct.Mode = GPIO_MODE_OUTPUT_PP;
  GPIO_InitStruct.Pull = GPIO_PULLUP;
  GPIO_InitStruct.Speed = GPIO_SPEED_FREQ_LOW;
  HAL_GPIO_Init(GPIOB, &GPIO_InitStruct);

  /* EXTI interrupt init*/
  HAL_NVIC_SetPriority(EXTI3_IRQn, 5, 0);
  HAL_NVIC_EnableIRQ(EXTI3_IRQn);

}

/* USER CODE BEGIN 4 */

// Función para extraer dos enteros de un buffer
int parse_command(const char *buffer, int *angulo, int *velocidad) {
    char *comma_pos = strchr(buffer, ','); // Buscar la coma
    if (comma_pos == NULL) {
        return 0; // Formato inválido
    }

    // Extraer los valores antes y después de la coma
    *comma_pos = '\0'; // Reemplazar coma por terminador nulo temporalmente
    *angulo = atoi(buffer); // Convertir la primera parte a entero
    *comma_pos = ',';       // Restaurar la coma
    *velocidad = atoi(comma_pos + 1); // Convertir la segunda parte a entero

    return 1; // Éxito
}

void process_received_command(void)
{
    if (command_received)
    {
        command_received = 0;

        // Verificar si el comando comienza con "MODE:"
        if (strncmp(command_buffer, "MODE:", 5) == 0)
        {
            char mode[7]; // "MANUAL" o "AUTO"
            strncpy(mode, command_buffer + 5, 6);
            mode[6] = '\0'; // Asegurar terminación de cadena

            if (strcmp(mode, "MANUAL") == 0)
            {
                current_mode = MODE_MANUAL;
                set_motor_direction(0); // Detener motores al cambiar a manual
                set_speed(0);
                HAL_UART_Transmit(&huart1, (uint8_t*)"Modo Manual Activado\r\n", 22, HAL_MAX_DELAY);
            }
            else if (strcmp(mode, "AUTO") == 0)
            {
                current_mode = MODE_AUTONOMOUS;
                HAL_UART_Transmit(&huart1, (uint8_t*)"Modo Autonómico Activado\r\n", 25, HAL_MAX_DELAY);
            }
            else
            {
                HAL_UART_Transmit(&huart1, (uint8_t*)"Modo Desconocido\r\n", 19, HAL_MAX_DELAY);
            }
        }
        // Verificar si el comando comienza con 'M' para Manual Control
        else if (command_buffer[0] == 'M')
        {
            if (current_mode != MODE_MANUAL)
            {
                // Ignorar comandos manuales si no estamos en modo manual
                HAL_UART_Transmit(&huart1, (uint8_t*)"No está en modo manual\r\n", 23, HAL_MAX_DELAY);
                return;
            }

            // Parsear los valores de ángulo y velocidad
            int angulo = 0;
            int velocidad_m = 0;

            // Usar sscanf para extraer los valores
            if (parse_command(command_buffer + 1, &angulo, &velocidad_m))
            {

              velocidad_manual = velocidad_m;
		      grados_manual = angulo;

		      if (velocidad_m < 0)
		      {
		    	  velocidad_m = -velocidad_m;
		          set_motor_direction(2);
		      }
		      else if (velocidad_m > 0)
			  {
				  set_motor_direction(1);
			  }
		      else
		      {
			        set_motor_direction(0);
		      }

		      set_speed(velocidad_m);
		      Grados = angulo;

                // Actualizar la velocidad y el ángulo
              //  set_speed(velocidad_manual);
              //  Grados = angulo;

            }
            else
            {
                //HAL_UART_Transmit(&huart1, (uint8_t*)"Formato de comando inválido\r\n", 28, HAL_MAX_DELAY);
            }
        }

    }
}

void send_data_over_bluetooth(void)
{
    char data_packet[100]; // Ajusta el tamaño según sea necesario
    // Escalar los valores flotantes a enteros (×100)
    int velocidad_scaled = velocidad_actual; // Asegúrate de que velocidad_actual ya está en enteros
    int pos_x_scaled = (int)(pos_x * 100);
    int pos_y_scaled = (int)(pos_y * 100);
    int yaw_scaled = (int)(heading_degree * 100);

    // Formatear el paquete con enteros
    int length = snprintf(data_packet, sizeof(data_packet), "D,%d,%d,%d,%d", velocidad_scaled, pos_x_scaled, pos_y_scaled, yaw_scaled);

    if (length > 0 && length < sizeof(data_packet))
    {
        uint8_t start_byte = 0x02;
        uint8_t end_byte = 0x03;

        // Enviar el paquete por UART
        HAL_UART_Transmit(&huart1, &start_byte, 1, HAL_MAX_DELAY);
        HAL_UART_Transmit(&huart1, (uint8_t*)data_packet, length, HAL_MAX_DELAY);
        HAL_UART_Transmit(&huart1, &end_byte, 1, HAL_MAX_DELAY);

    }

}

/* USER CODE END 4 */

void StartUartTask(void const * argument)
{
  /* USER CODE BEGIN 5 */
  /* Infinite loop */
  for(;;)
  {
	  if (command_received)
	        {
	            process_received_command();
	        }

	        osDelay(100); // Retard
  }
  /* USER CODE END 5 */
}

void StartServoTask(void const * argument)
{
  /* USER CODE BEGIN StartServoTask */
	uint32_t antes = HAL_GetTick();
	uint32_t ahora = antes;
	float intervalo = 0.0f;
  /* Infinite loop */
  for(;;)
  {

	  if (current_mode != MODE_MANUAL)
	  {
	  // Implementación del PID para la dirección
	        // 1. Calcular el error

	        error_dir = calculate_angle_error(desired_heading, heading_degree);

	        // 2. Calcular la integral del error (anti-windup)

	        antes = ahora;
	        ahora = HAL_GetTick();
	        intervalo = (float)(ahora - antes) / 1000.0f;

	        if (intervalo <= 0.0f)
			{
				intervalo = 0.001f; // Asignar un valor pequeño
			}

	        integral_dir += error_dir * intervalo; // Integración en segundos

	        if (integral_dir > INTEGRAL_MAX_DIR)
	            integral_dir = INTEGRAL_MAX_DIR;
	        else if (integral_dir < INTEGRAL_MIN_DIR)
	            integral_dir = INTEGRAL_MIN_DIR;

	        // 3. Calcular la derivada del error
	        derivative_dir = (error_dir - prev_error_dir) / (PWM_UPDATE_PERIOD_MS / 1000.0f);

	        // 4. Calcular la salida del PID
	        output_dir = kp_dir * error_dir + ki_dir * integral_dir + kd_dir * derivative_dir;

	        // 5. Actualizar el error previo
	        prev_error_dir = error_dir;

	        // 6. Ajustar Grados basado en la salida del PID
	        Grados= output_dir;

	        // 7. Asegurar que Grados esté dentro de los límites
	        if (Grados > MAX_DELTA_ANGLE)
	            Grados = MAX_DELTA_ANGLE;
	        else if (Grados < -MAX_DELTA_ANGLE)
	            Grados = -MAX_DELTA_ANGLE;

	        // 8. Actualizar la posición del servo

	  }
	  update_servo_position();

	        osDelay(PWM_UPDATE_PERIOD_MS); // Actualiza cada PWM_UPDATE_PERIOD_MS ms
  }
  /* USER CODE END StartServoTask */
}

void StartMotorTask(void const * argument)
{
  /* USER CODE BEGIN StartMotorTask */
  /* Infinite loop */
  for(;;)
  {
      if (current_mode == MODE_AUTONOMOUS)
      {
          // Secuencia autónoma
          move_forward(SIDE_ENCODER_COUNT - 115);
          osDelay(5000);

          // Girar 90 grados
          turn_degrees(TURN_ANGLE_DEGREES);
          osDelay(5000);

          for(int side = 0; side < 2; side++)
          {
              move_forward(SIDE_ENCODER_COUNT-10);
              osDelay(5000);

              turn_degrees(TURN_ANGLE_DEGREES);
              osDelay(5000);
          }

          move_forward(SIDE_ENCODER_COUNT + 15);
          osDelay(5000);

          turn_degrees(TURN_ANGLE_DEGREES);
          osDelay(5000);

          // Detener el motor después de completar la secuencia
          set_motor_direction(0);
          set_speed(0);

          // Esperar antes de repetir la secuencia
          osDelay(1000);
      }
      else if (current_mode == MODE_MANUAL)
      {
          // En modo manual, permitir que las tareas de comandos controlen el motor
          // No realizar ninguna acción específica aquí
          osDelay(100); // Ajusta el delay según sea necesario
      }

      osDelay(100); // Ajusta el delay según sea necesario
  }
  /* USER CODE END StartMotorTask */
}

void StartUltrasonicoTask(void const * argument)
{
  /* USER CODE BEGIN StartUltrasonicoTask */
  /* Infinite loop */
  for(;;)
  {
      if(ultrasonic_measure_distance() < DISTANCE_THRESHOLD)
          set_motor_direction(0);
      osDelay(400);
  }
  /* USER CODE END StartUltrasonicoTask */
}

void StartEncoderTask(void const * argument)
{
  /* USER CODE BEGIN StartEncoderTask */

  const uint32_t t_in_ms = 500;  // Intervalo de medición en milisegundos

  char msg[20]; // Aumenta el tamaño si es necesario

  /* Infinite loop */
  for(;;)
  {

	  int pos_x_scaled = (int)(pos_x  * (180.0f / 3.141592f) * 100); // Escalar por 100
	  int pos_y_scaled = (int)(pos_y  * (180.0f / 3.141592f) * 100); // Escalar por 100

	  //sprintf(msg, "x%d y%02d\r\n", pos_x_scaled / 100, pos_y_scaled/100);
	  //HAL_UART_Transmit(&huart1, (uint8_t*)msg, strlen(msg), HAL_MAX_DELAY);

      // Capturar la posición actual
//      posicion = 0;
//
//      osDelay(t_in_ms);
//
//      current_position = posicion;
//
//      // Calcular RPM escaladas
//      rpm_scaled = (current_position * 60000) / (PULSES_PER_REV * t_in_ms);

      // Puedes implementar aquí la lógica adicional si es necesario
  }
  /* USER CODE END StartEncoderTask */
}

void StartMPU9250Task(void const * argument)
{
  /* USER CODE BEGIN StartMPU9250Task */
    /* Infinite loop */
	float gyro_heading = 0.0f;
	    float mag_heading = 0.0f;
	    char msg[10]; // Aumenta el tamaño si es necesario
	    float current_heading = 0;

	    static uint8_t is_calibrated = 0;     // Bandera de calibración

	    // Función para normalizar ángulos a 0-360 grados
	    float normalize_angle(float angle)
	    {
	        while (angle < 0.0f)
	            angle += 360.0f;
	        while (angle >= 360.0f)
	            angle -= 360.0f;
	        return angle;
	    }

	    for(;;)
	    {
	    	if (current_mode == MODE_AUTONOMOUS)
	    	{
	        // COMPASS SENSOR
	        if (MPU9250_dataReady())
	        {
	            MPU9250_update(UPDATE_COMPASS | UPDATE_ACCEL | UPDATE_GYRO);

	            if (MPU9250_updateCompass() == INV_SUCCESS)
	            {
	                mag_heading = MPU9250_computeCompassHeading();
	            }
	        }

	        if (MPU9250_fifoAvailable())
	        {
	            // Usar dmpUpdateFifo para actualizar los valores ax, gx, mx, etc.
	            if (MPU9250_dmpUpdateFifo() == INV_SUCCESS)
	            {

	            	if (!is_calibrated && current_heading != 0 )
					{
						error_correction = current_heading; // Almacenar el ángulo inicial como 0
						is_calibrated = 1;
					}
	                // computeEulerAngles puede ser usado para estimar roll, pitch y yaw
	                MPU9250_computeEulerAngles(false);
	                gyro_heading = yaw_inside;

	                // Calcular el heading en grados
	                current_heading = gyro_heading * (180.0f / 3.141592f); // Convertir a grados

	                // Ajustar el heading restando el ángulo de calibración
					heading_degree = current_heading - error_correction;

					// Normalizar heading_degree a 0-360 grados
					heading_degree = normalize_angle(heading_degree);

					//int degrees_scaled = (int)(gyro_heading * (180.0f / 3.141592f) * 100); // Escalar por 100
					//sprintf(msg, "rec%d.%02d\r\n", degrees_scaled / 100, degrees_scaled % 100);
					//HAL_UART_Transmit(&huart1, (uint8_t*)msg, strlen(msg), HAL_MAX_DELAY);

					 // Realizar la calibración si no se ha hecho aún

	            }
	        }

	    	}

	        osDelay(10); // Ajusta según la frecuencia deseada (por ejemplo, 10 ms)
	    }
  /* USER CODE END StartMPU9250Task */
}

void StartBluetoothTask(void const * argument)
{
  /* USER CODE BEGIN StartBluetoothTask */
  /* Infinite loop */
  for(;;)
  {
	  if (current_mode == MODE_AUTONOMOUS)
	        {
	  send_data_over_bluetooth();
	        }

	  osDelay(100); // Enviar datos cada 100 ms
  }
  /* USER CODE END StartBluetoothTask */
}

void Error_Handler(void)
{
  /* USER CODE BEGIN Error_Handler_Debug */
  /* Usuario puede agregar su propio código para manejar el error */
  __disable_irq();
  while (1)
  {
  }
  /* USER CODE END Error_Handler_Debug */
}

#ifdef  USE_FULL_ASSERT
/**
  * @brief  Reports the name of the source file and the source line number
  *         where the assert_param error has occurred.
  * @param  file: pointer to the source file name
  * @param  line: assert_param error line source number
  * @retval None
  */
void assert_failed(uint8_t *file, uint32_t line)
{
  /* USER CODE BEGIN 6 */
  /* Usuario puede agregar su propio código para manejar el error */
  /* USER CODE END 6 */
}
#endif /* USE_FULL_ASSERT */

/************************ (C) COPYRIGHT STMicroelectronics *****END OF FILE****/

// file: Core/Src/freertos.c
/* USER CODE BEGIN Header */
/**
  ******************************************************************************
  * File Name          : freertos.c
  * Description        : Code for freertos applications
  ******************************************************************************
  * @attention
  *
  * <h2><center>&copy; Copyright (c) 2024 STMicroelectronics.
  * All rights reserved.</center></h2>
  *
  * This software component is licensed by ST under Ultimate Liberty license
  * SLA0044, the "License"; You may not use this file except in compliance with
  * the License. You may obtain a copy of the License at:
  *                             www.st.com/SLA0044
  *
  ******************************************************************************
  */
/* USER CODE END Header */

#include "FreeRTOS.h"
#include "task.h"
#include "main.h"

/* GetIdleTaskMemory prototype (linked to static allocation support) */
void vApplicationGetIdleTaskMemory( StaticTask_t **ppxIdleTaskTCBBuffer, StackType_t **ppxIdleTaskStackBuffer, uint32_t *pulIdleTaskStackSize );

/* USER CODE BEGIN GET_IDLE_TASK_MEMORY */
static StaticTask_t xIdleTaskTCBBuffer;
static StackType_t xIdleStack[configMINIMAL_STACK_SIZE];

void vApplicationGetIdleTaskMemory( StaticTask_t **ppxIdleTaskTCBBuffer, StackType_t **ppxIdleTaskStackBuffer, uint32_t *pulIdleTaskStackSize )
{
  *ppxIdleTaskTCBBuffer = &xIdleTaskTCBBuffer;
  *ppxIdleTaskStackBuffer = &xIdleStack[0];
  *pulIdleTaskStackSize = configMINIMAL_STACK_SIZE;
  /* place for user code */
}
/* USER CODE END GET_IDLE_TASK_MEMORY */

/************************ (C) COPYRIGHT STMicroelectronics *****END OF FILE****/
